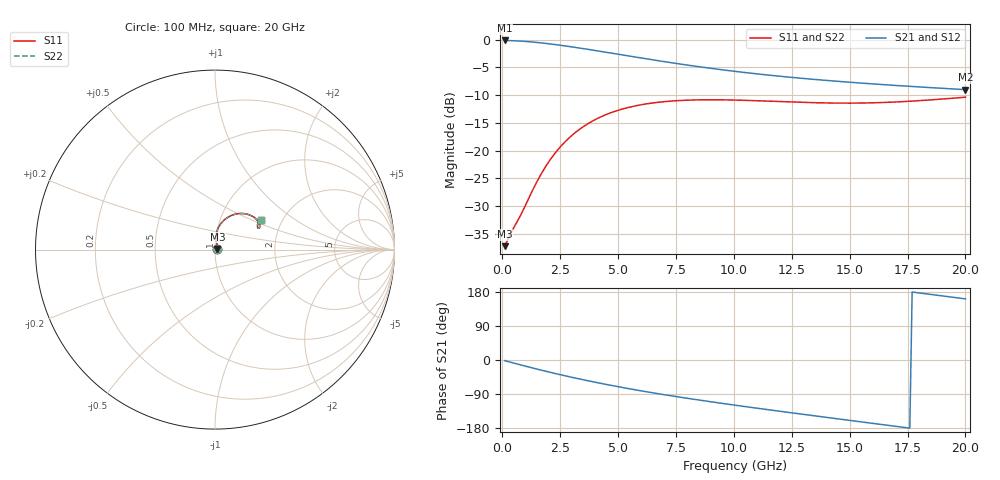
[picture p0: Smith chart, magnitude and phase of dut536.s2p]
! Touchstone file exported from HFSS 2024.1.0
!  File:  C:/UserFiles/LocalFiles/RDL_TSV_Batchsim/temp_RDL_TSV_536_1779745884.aedt
!  Generated:  06:08:54 AM May 26, 2026
!  Design:  RDL_TSV
!  Project:  temp_RDL_TSV_536_1779745884
!  Setup:  Setup1
!  Solution:  Sweep
! Variables:
!  dtsv = 5.99um
!  hbump = 3um
!  htsv = 97.45um
!  ldown = 515.27um
!  lrdl = 271.22um
!  p = 40
!  p1 = 51.37um
!  rhole = 10um
!  subl = 2630.69um
!  t = 450um
!  tdown = 3.48um
!  trdl = 4.36um
!  viad = 10um
!  wdown = 24.82um
!  wrdl = 18.78um
!  xbump = 18um
# GHz S MA R 50.000000
! Terminal data exported
! Port[1] = TM1_1_T1
! Port[2] = TM1_4_T1
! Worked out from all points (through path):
!   200 points, 100 MHz to 20 GHz, reference 50 ohm
!   highest |S21| = -0.12 dB at 100 MHz (marker M1); lowest = -9.0 dB at 20 GHz (marker M2)
!   group delay of S21, straight-line fit = 26 ps
!   lowest |S11| = -37.3 dB at 100 MHz (marker M3), VSWR 1.03, Z = 51.3 + j0.35 ohm
!   |S11| at or under -10 dB: start of sweep to end of sweep
!   |S22| runs from -37.3 to -10.4 dB; largest |S21 - S12| = 1.6e-14
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0.1  0.01368 14.4  0.9865 -1.7  0.9865 -1.7  0.01368 14.4
! Gamma 0 0 0 0
! Port Impedance 50 0 50 0
0.4  0.01849 41.2  0.9822 -6.6  0.9822 -6.6  0.01853 41.2
0.9  0.0289 68.5  0.9699 -14.7  0.9699 -14.7  0.02886 68.4
1.5  0.05255 83.9  0.9465 -24.0  0.9465 -24.0  0.05248 83.8
1.9  0.07326 85.9  0.9268 -30.1  0.9268 -30.1  0.07314 85.8
2.2  0.09014 85.2  0.9106 -34.4  0.9106 -34.4  0.08997 85.1
2.6  0.1134 82.7  0.8875 -40.1  0.8875 -40.1  0.1132 82.6
3  0.1366 79.2  0.8634 -45.6  0.8634 -45.6  0.1363 79.2
3.5  0.1643 74.3  0.8325 -52.2  0.8325 -52.2  0.164 74.3
4.2  0.1989 67.1  0.7891 -61.0  0.7891 -61.0  0.1984 67.1
4.9  0.2273 60.2  0.7468 -69.3  0.7468 -69.3  0.2267 60.2
5.8  0.2544 52.3  0.6957 -79.3  0.6957 -79.3  0.2538 52.2
6.8  0.2737 44.7  0.6442 -89.6  0.6442 -89.6  0.2729 44.7
7.6  0.2824 39.7  0.6076 -97.4  0.6076 -97.4  0.2816 39.7
8.4  0.2866 35.6  0.5749 -104.8  0.5749 -104.8  0.2857 35.6
10.1  0.2854 29.4  0.5172 -119.7  0.5172 -119.7  0.2845 29.4
11.7  0.2782 26.5  0.4751 -133.0  0.4751 -133.0  0.2773 26.5
13.4  0.2706 26.0  0.4401 -146.7  0.4401 -146.7  0.2697 26.0
15  0.2679 27.4  0.4137 -159.3  0.4137 -159.3  0.2671 27.4
16.7  0.2727 29.7  0.3906 -172.7  0.3906 -172.7  0.2719 29.8
18.3  0.2847 31.8  0.372 174.7  0.372 174.7  0.2839 31.8
20  0.3033 32.9  0.3547 161.3  0.3547 161.3  0.3025 32.9
